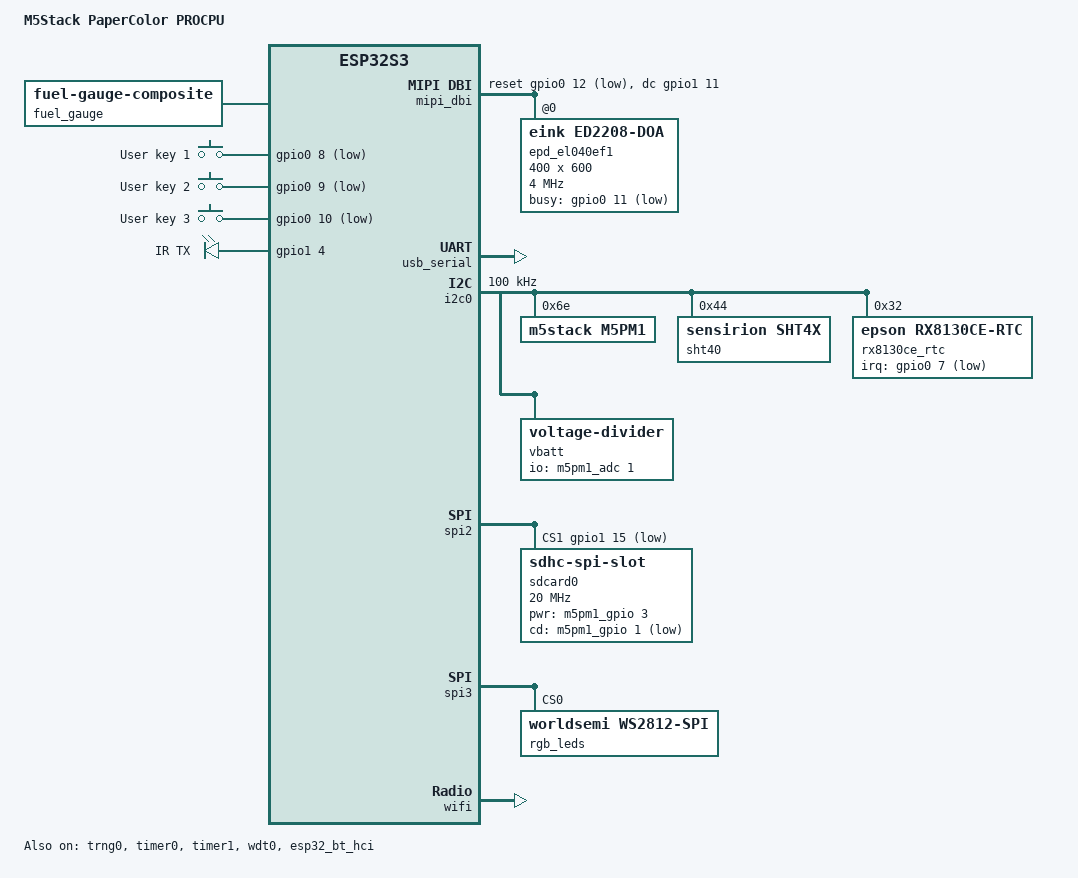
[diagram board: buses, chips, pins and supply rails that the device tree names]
/*
 * Copyright (c) 2026 The Zephyr Project Contributors
 * SPDX-License-Identifier: Apache-2.0
 */

/dts-v1/;

#include <freq.h>
#include <espressif/esp32s3/esp32s3_wroom_n16r8.dtsi>
#include <espressif/partitions_0x0_amp_16M.dtsi>
#include <zephyr/dt-bindings/adc/adc.h>
#include <zephyr/dt-bindings/battery/battery.h>
#include <zephyr/dt-bindings/display/panel.h>
#include <zephyr/dt-bindings/input/input-event-codes.h>
#include <zephyr/dt-bindings/led/led.h>
#include <zephyr/dt-bindings/led/worldsemi_ws2812c.h>
#include "m5stack_paper_color-pinctrl.dtsi"
#include "m5stack_paper_color-grove.dtsi"

/ {
	model = "M5Stack PaperColor PROCPU";
	compatible = "m5stack,paper-color";

	chosen {
		zephyr,sram = &sram1;
		zephyr,console = &usb_serial;
		zephyr,shell-uart = &usb_serial;
		zephyr,flash = &flash0;
		zephyr,code-partition = &slot0_partition;
		zephyr,bt-hci = &esp32_bt_hci;
		zephyr,display = &epd_el040ef1;
		zephyr,rtc = &rx8130ce_rtc;
		zephyr,sdhc = &sdcard0;
	};

	aliases {
		adc-0 = &m5pm1_adc;
		fuel-gauge0 = &fuel_gauge;
		i2c-0 = &i2c0;
		led-strip = &rgb_leds;
		rtc = &rx8130ce_rtc;
		sdhc0 = &sdcard0;
		sw0 = &user_key1;
		sw1 = &user_key2;
		sw2 = &user_key3;
		uart-0 = &uart0;
		watchdog0 = &wdt0;
	};

	fuel_gauge: fuel_gauge {
		compatible = "zephyr,fuel-gauge-composite";
		source-primary = <&vbatt>;
		device-chemistry = "lithium-ion-polymer";
		ocv-capacity-table-0 = <BATTERY_OCV_CURVE_LITHIUM_ION_POLYMER_DEFAULT>;
		charge-full-design-microamp-hours = <1250000>;
	};

	gpio_keys {
		compatible = "gpio-keys";

		user_key1: button_0 {
			gpios = <&gpio0 8 (GPIO_PULL_UP | GPIO_ACTIVE_LOW)>;
			label = "User key 1";
			zephyr,code = <INPUT_KEY_0>;
		};

		user_key2: button_1 {
			gpios = <&gpio0 9 (GPIO_PULL_UP | GPIO_ACTIVE_LOW)>;
			label = "User key 2";
			zephyr,code = <INPUT_KEY_1>;
		};

		user_key3: button_2 {
			gpios = <&gpio0 10 (GPIO_PULL_UP | GPIO_ACTIVE_LOW)>;
			label = "User key 3";
			zephyr,code = <INPUT_KEY_2>;
		};
	};

	ir_tx {
		compatible = "gpio-leds";

		ir_led: ir_led {
			gpios = <&gpio1 4 GPIO_ACTIVE_HIGH>;
			label = "IR TX";
		};
	};

	mipi_dbi: mipi_dbi {
		compatible = "zephyr,mipi-dbi-spi";
		spi-dev = <&spi2>;
		dc-gpios = <&gpio1 11 GPIO_ACTIVE_HIGH>;
		reset-gpios = <&gpio0 12 GPIO_ACTIVE_LOW>;
		write-only;
		#address-cells = <1>;
		#size-cells = <0>;

		epd_el040ef1: ed2208_doa@0 {
			compatible = "eink,ed2208-doa", "eink,ed2208-gca";
			reg = <0>;
			mipi-max-frequency = <DT_FREQ_M(4)>;
			width = <400>;
			height = <600>;
			busy-gpios = <&gpio0 11 (GPIO_ACTIVE_LOW | GPIO_PULL_UP)>;

			color-palette {
				compatible = "zephyr,panel-color-palette";

				colors = <ARGB8888(0,   0,   0,   255) /* 0x00 = Black */
					  ARGB8888(245, 245, 240, 255) /* 0x01 = White */
					  ARGB8888(230, 200, 40,  255) /* 0x02 = Yellow */
					  ARGB8888(196, 50,  58,  255) /* 0x03 = Red */
					  PANEL_COLOR_PALETTE_NULL /* 0x04 = Unused / reserved */
					  ARGB8888(40,  85,  180, 255) /* 0x05 = Blue */
					  ARGB8888(60,  140, 75,  255) /* 0x06 = Green */>;
			};
		};
	};
};

&usb_serial {
	status = "okay";
};

&uart0 {
	status = "disabled";
};

&i2c0 {
	status = "okay";
	clock-frequency = <I2C_BITRATE_STANDARD>;
	pinctrl-0 = <&i2c0_default>;
	pinctrl-names = "default";

	m5pm1: pmic@6e {
		compatible = "m5stack,m5pm1";
		reg = <0x6e>;
		idle-sleep-timeout-seconds = <2>;

		m5pm1_regulators: regulators {
			compatible = "m5stack,m5pm1-regulator";

			dcdc_3v3: dcdc_3v3 {
				regulator-boot-on;
				regulator-always-on;
			};

			ldo_3v3: ldo_3v3 {
				regulator-boot-on;
			};

			grove_5v: boost_5v: boost_5v {};
		};

		m5pm1_gpio: gpio {
			compatible = "m5stack,m5pm1-gpio";
			gpio-controller;
			#gpio-cells = <2>;
			ngpios = <5>;

			epd_pwr_en {
				gpio-hog;
				gpios = <0 GPIO_ACTIVE_HIGH>;
				output-high;
				line-name = "epd-pwr-en";
			};

			sd_det_en {
				gpio-hog;
				gpios = <4 GPIO_ACTIVE_HIGH>;
				output-high;
				line-name = "sd-det-en";
			};
		};

		m5pm1_adc: adc {
			compatible = "m5stack,m5pm1-adc";
			#io-channel-cells = <1>;
			#address-cells = <1>;
			#size-cells = <0>;

			channel@1 {
				reg = <1>;
				zephyr,gain = "ADC_GAIN_1";
				zephyr,reference = "ADC_REF_INTERNAL";
				zephyr,acquisition-time = <ADC_ACQ_TIME_DEFAULT>;
				zephyr,resolution = <12>;
			};
		};

		m5pm1_wdt: watchdog {
			compatible = "m5stack,m5pm1-wdt";
		};
	};

	sht40: sht4x@44 {
		compatible = "sensirion,sht4x";
		reg = <0x44>;
		repeatability = <2>;
	};

	rx8130ce_rtc: rtc@32 {
		compatible = "epson,rx8130ce-rtc";
		reg = <0x32>;
		irq-gpios = <&gpio0 7 GPIO_ACTIVE_LOW>;
	};

	vbatt: vbatt {
		compatible = "voltage-divider";
		io-channels = <&m5pm1_adc 1>;
		output-ohms = <1>;
		full-ohms = <1>;
	};
};

&spi2 {
	#address-cells = <1>;
	#size-cells = <0>;
	status = "okay";
	pinctrl-0 = <&spim2_default>;
	pinctrl-names = "default";
	cs-gpios = <&gpio1 12 GPIO_ACTIVE_LOW>, <&gpio1 15 GPIO_ACTIVE_LOW>;

	sdcard0: sdhc@1 {
		compatible = "zephyr,sdhc-spi-slot";
		reg = <1>;
		status = "okay";
		spi-max-frequency = <DT_FREQ_M(20)>;
		pwr-gpios = <&m5pm1_gpio 3 GPIO_ACTIVE_HIGH>;
		cd-gpios = <&m5pm1_gpio 1 GPIO_ACTIVE_LOW>;
		power-delay-ms = <5>;

		mmc {
			compatible = "zephyr,sdmmc-disk";
			disk-name = "SD";
			status = "okay";
		};
	};
};

&spi3 {
	#address-cells = <1>;
	#size-cells = <0>;
	status = "okay";
	line-idle-low;
	pinctrl-0 = <&spim3_ws2812_led>;
	pinctrl-names = "default";

	rgb_leds: ws2812@0 {
		compatible = "worldsemi,ws2812-spi";
		reg = <0>;
		spi-max-frequency = <WS2812C_SPI_FREQ>;

		chain-length = <2>;
		color-mapping = <LED_COLOR_ID_GREEN LED_COLOR_ID_RED LED_COLOR_ID_BLUE>;
		spi-one-frame = <WS2812C_ONE_FRAME>;
		spi-zero-frame = <WS2812C_ZERO_FRAME>;
		reset-delay = <50>;
	};
};

&gpio0 {
	status = "okay";
};

&gpio1 {
	status = "okay";
};

&trng0 {
	status = "okay";
};

&timer0 {
	status = "okay";
};

&timer1 {
	status = "okay";
};

&wdt0 {
	status = "okay";
};

&esp32_bt_hci {
	status = "okay";
};

&wifi {
	status = "okay";
};
